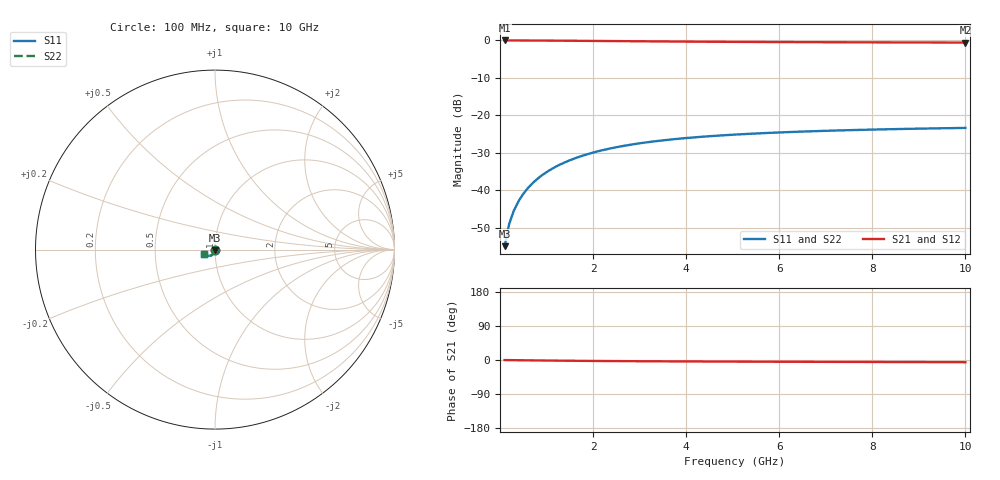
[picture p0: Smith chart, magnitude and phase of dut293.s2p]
! Touchstone file exported from HFSS 2024.1.0
!  File:  C:/UserFiles/LocalFiles/RDL_TSV_Batchsim/temp_TSV1_293_1779394368.aedt
!  Generated:  04:18:01 AM May 22, 2026
!  Design:  TSV1
!  Project:  temp_TSV1_293_1779394368
!  Setup:  Setup1
!  Solution:  Sweep
! Variables:
!  dtsv = 12.37um
!  hbump = 3um
!  htsv = 91.08um
!  lrdl = 252.1521522um
!  p = 40
!  p1 = 43.05um
!  t = 500um
!  trdl = 3um
!  wrdl = 24.89489489um
# GHz S MA R 50.000000
! Terminal data exported
! Port[1] = TSV22_T1
! Port[2] = TSV22_T2
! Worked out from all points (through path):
!   100 points, 100 MHz to 10 GHz, reference 50 ohm
!   highest |S21| = 0.00 dB at 100 MHz (marker M1); lowest = -0.6 dB at 10 GHz (marker M2)
!   lowest |S11| = -54.9 dB at 100 MHz (marker M3), VSWR 1.00, Z = 50 - j0.179 ohm
!   |S11| at or under -10 dB: start of sweep to end of sweep
!   |S22| runs from -54.9 to -23.4 dB; largest |S21 - S12| = 5.5e-15
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0.1  0.001791 -88.1  0.9998 -0.1  0.9998 -0.1  0.001791 -88.1
! Gamma 0 0 0 0
! Port Impedance 50 0 50 0
0.2  0.003579 -91.1  0.9997 -0.3  0.9997 -0.3  0.003579 -91.1
0.3  0.005367 -93.1  0.9994 -0.4  0.9994 -0.4  0.005367 -93.1
0.4  0.00715 -94.9  0.9991 -0.6  0.9991 -0.6  0.00715 -94.9
0.5  0.00892 -96.5  0.9986 -0.7  0.9986 -0.7  0.00892 -96.5
0.6  0.01067 -98.1  0.9981 -0.9  0.9981 -0.9  0.01067 -98.1
0.7  0.0124 -99.7  0.9976 -1.0  0.9976 -1.0  0.0124 -99.7
0.8  0.01411 -101.2  0.9969 -1.1  0.9969 -1.1  0.01411 -101.2
0.9  0.01579 -102.7  0.9962 -1.3  0.9962 -1.3  0.01579 -102.7
1.1  0.01904 -105.6  0.9946 -1.5  0.9946 -1.5  0.01904 -105.6
1.4  0.02365 -109.8  0.9918 -1.9  0.9918 -1.9  0.02365 -109.8
1.6  0.02653 -112.4  0.9897 -2.1  0.9897 -2.1  0.02653 -112.4
1.8  0.02925 -114.9  0.9876 -2.3  0.9876 -2.3  0.02925 -114.9
2.1  0.03302 -118.4  0.9843 -2.6  0.9843 -2.6  0.03302 -118.4
2.5  0.0375 -122.6  0.9799 -2.9  0.9799 -2.9  0.0375 -122.6
2.9  0.0414 -126.5  0.9757 -3.2  0.9757 -3.2  0.0414 -126.5
3.4  0.04558 -130.7  0.9707 -3.5  0.9707 -3.5  0.04558 -130.7
4.2  0.05095 -136.4  0.9636 -3.9  0.9636 -3.9  0.05094 -136.4
5.1  0.05555 -141.5  0.9571 -4.2  0.9571 -4.2  0.05555 -141.5
6.7  0.0613 -148.5  0.9483 -4.8  0.9483 -4.8  0.06129 -148.5
8.4  0.06532 -154.0  0.9418 -5.3  0.9418 -5.3  0.06532 -154.0
10  0.06794 -158.0  0.9374 -5.9  0.9374 -5.9  0.06794 -158.0
